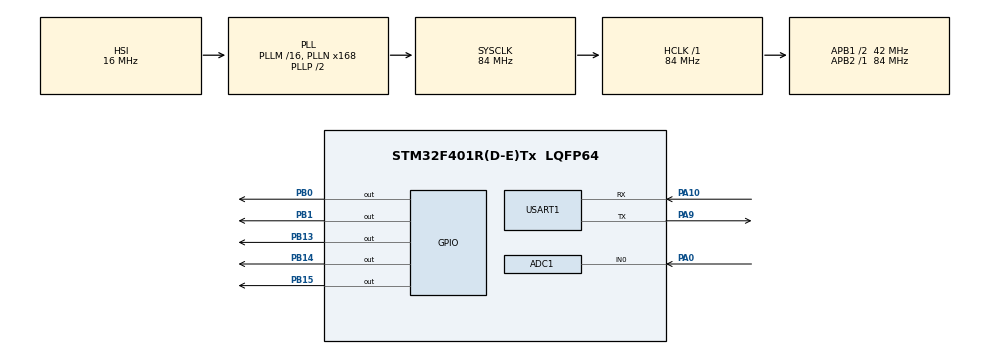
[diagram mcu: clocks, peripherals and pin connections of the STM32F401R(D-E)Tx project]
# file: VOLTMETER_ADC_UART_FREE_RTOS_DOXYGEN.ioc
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ADC1.Channel-0\#ChannelRegularConversion=ADC_CHANNEL_0
ADC1.NbrOfConversionFlag=1
ADC1.Rank-0\#ChannelRegularConversion=1
ADC1.SamplingTime-0\#ChannelRegularConversion=ADC_SAMPLETIME_3CYCLES
ADC1.master=1
Dma.Request0=USART1_RX
Dma.Request1=USART1_TX
Dma.USART1_RX.0.Direction=DMA_PERIPH_TO_MEMORY
Dma.USART1_RX.0.FIFOMode=DMA_FIFOMODE_DISABLE
Dma.USART1_RX.0.Instance=DMA2_Stream2
Dma.USART1_RX.0.MemDataAlignment=DMA_MDATAALIGN_BYTE
Dma.USART1_RX.0.MemInc=DMA_MINC_ENABLE
Dma.USART1_RX.0.Mode=DMA_NORMAL
Dma.USART1_RX.0.PeriphDataAlignment=DMA_PDATAALIGN_BYTE
Dma.USART1_RX.0.PeriphInc=DMA_PINC_DISABLE
Dma.USART1_RX.0.Priority=DMA_PRIORITY_LOW
Dma.USART1_TX.1.Direction=DMA_MEMORY_TO_PERIPH
Dma.USART1_TX.1.FIFOMode=DMA_FIFOMODE_DISABLE
Dma.USART1_TX.1.Instance=DMA2_Stream7
Dma.USART1_TX.1.MemDataAlignment=DMA_MDATAALIGN_HALFWORD
Dma.USART1_TX.1.MemInc=DMA_MINC_ENABLE
Dma.USART1_TX.1.Mode=DMA_NORMAL
Dma.USART1_TX.1.PeriphDataAlignment=DMA_PDATAALIGN_HALFWORD
Dma.USART1_TX.1.PeriphInc=DMA_PINC_DISABLE
Dma.USART1_TX.1.Priority=DMA_PRIORITY_LOW
FREERTOS.Queues01=ADC_QUEUE_UART_TX,1,uint16_t,0,Dynamic,NULL,NULL;UART_RX_QUEUE_ADC_TAK,16,uint16_t,0,Dynamic,NULL,NULL;UART_RX_QUEUE_UART_TX,1,uint8_t,0,Dynamic,NULL,NULL;UART_RX_QUEUE_ADC_CONFIG,1,uint8_t,0,Dynamic,NULL,NULL;INT_UART_QUEUE_UART_RX,1,uint8_t,0,Dynamic,NULL,NULL
FREERTOS.Tasks01=IDLE_DEBUG_TASK,-3,128,IDLE_DEBUG_TASK_INIT,Default,NULL,Dynamic,NULL,NULL;ADC_TAKE_TASK,0,128,ADC_TAKE_TASK_INIT,Default,NULL,Dynamic,NULL,NULL;UART_TX_TASK,0,2048,UART_TX_TASK_INIT,Default,NULL,Dynamic,NULL,NULL;UART_RX_TASK,0,128,UART_RX_TASK_INIT,Default,NULL,Dynamic,NULL,NULL;ADC_CONFIG_TASK,-1,128,ADC_CONFIG_TASK_INIT,Default,NULL,Dynamic,NULL,NULL;INT_TIMER_TASK,1,128,INT_TIMER_TASK_INIT,Default,NULL,Dynamic,NULL,NULL;INT_UART_TASK,1,128,INT_UART_TASK_INIT,Default,NULL,Dynamic,NULL,NULL
FREERTOS.Timers01=RTOS_TIMER_1,TIMER_CALLBACK,osTimerPeriodic,Default,NULL,Dynamic,NULL
FREERTOS.configUSE_IDLE_HOOK=1
FREERTOS.configUSE_TICK_HOOK=1
FREERTOS.configUSE_TIMERS=1
Mcu.Family=STM32F4
Mcu.Name=STM32F401R(D-E)Tx
Mcu.Package=LQFP64
NVIC.ADC_IRQn=true\:5\:0\:false\:false\:true\:true\:true\:true\:true
NVIC.DMA2_Stream2_IRQn=true\:5\:0\:false\:false\:true\:true\:false\:true\:true
NVIC.DMA2_Stream7_IRQn=true\:5\:0\:false\:false\:true\:true\:false\:true\:true
NVIC.PriorityGroup=NVIC_PRIORITYGROUP_4
NVIC.TIM1_TRG_COM_TIM11_IRQn=true\:5\:0\:false\:false\:true\:true\:true\:true\:true
NVIC.TIM1_UP_TIM10_IRQn=true\:5\:0\:false\:false\:true\:false\:false\:true\:true
NVIC.TimeBase=TIM1_UP_TIM10_IRQn
NVIC.TimeBaseIP=TIM10
NVIC.USART1_IRQn=true\:5\:0\:false\:false\:true\:true\:true\:true\:true
PA0-WKUP.Signal=ADCx_IN0
PA10.Mode=Asynchronous
PA10.Signal=USART1_RX
PA9.Mode=Asynchronous
PA9.Signal=USART1_TX
PB0.GPIO_ModeDefaultOutputPP=GPIO_MODE_OUTPUT_OD
PB0.GPIO_PuPd=GPIO_PULLUP
PB0.GPIO_Speed=GPIO_SPEED_FREQ_LOW
PB0.Signal=GPIO_Output
PB1.GPIO_ModeDefaultOutputPP=GPIO_MODE_OUTPUT_OD
PB1.GPIO_PuPd=GPIO_PULLUP
PB1.Signal=GPIO_Output
PB13.GPIO_ModeDefaultOutputPP=GPIO_MODE_OUTPUT_OD
PB13.GPIO_PuPd=GPIO_PULLUP
PB13.Signal=GPIO_Output
PB14.GPIO_ModeDefaultOutputPP=GPIO_MODE_OUTPUT_OD
PB14.GPIO_PuPd=GPIO_PULLUP
PB14.Signal=GPIO_Output
PB15.GPIO_ModeDefaultOutputPP=GPIO_MODE_OUTPUT_OD
PB15.GPIO_PuPd=GPIO_PULLUP
PB15.Signal=GPIO_Output
ProjectManager.HeapSize=0x200
ProjectManager.StackSize=0x400
ProjectManager.TargetToolchain=STM32CubeIDE
RCC.48MHZClocksFreq_Value=42000000
RCC.AHBFreq_Value=84000000
RCC.APB1CLKDivider=RCC_HCLK_DIV2
RCC.APB1Freq_Value=42000000
RCC.APB1TimFreq_Value=84000000
RCC.APB2Freq_Value=84000000
RCC.APB2TimFreq_Value=84000000
RCC.CortexFreq_Value=84000000
RCC.HCLKFreq_Value=84000000
RCC.HSE_VALUE=25000000
RCC.HSI_VALUE=16000000
RCC.LSE_VALUE=32768
RCC.PLLN=168
RCC.SYSCLKFreq_VALUE=84000000
RCC.SYSCLKSource=RCC_SYSCLKSOURCE_PLLCLK
RCC.VCOOutputFreq_Value=168000000
SH.ADCx_IN0.0=ADC1_IN0,IN0
TIM11.AutoReloadPreload=TIM_AUTORELOAD_PRELOAD_ENABLE
TIM11.Period=9999
TIM11.Prescaler=8399
USART1.VirtualMode=VM_ASYNC
VP_FREERTOS_VS_CMSIS_V1.Mode=CMSIS_V1
VP_SYS_VS_tim10.Mode=TIM10
VP_TIM11_VS_ClockSourceINT.Mode=Enable_Timer
VP_TIM1_VS_ClockSourceINT.Mode=Internal
board=custom

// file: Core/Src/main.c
/* USER CODE BEGIN Header */
/**
  ******************************************************************************
  * @file           : main.c
  * @brief          : Main program body
  ******************************************************************************
  * @attention
  *
  * Copyright (c) 2023 STMicroelectronics.
  * All rights reserved.
  *
  * This software is licensed under terms that can be found in the LICENSE file
  * in the root directory of this software component.
  * If no LICENSE file comes with this software, it is provided AS-IS.
  *
  ******************************************************************************
  */
/* USER CODE END Header */
#include "main.h"
#include "cmsis_os.h"
#include "adc.h"
#include "dma.h"
#include "tim.h"
#include "usart.h"
#include "gpio.h"

/* USER CODE BEGIN Includes */

//#include "freertos.h"

/* USER CODE END Includes */

void SystemClock_Config(void);
void MX_FREERTOS_Init(void);

/* USER CODE BEGIN 0 */

/*
//------------------------------------------------------------------------------------------------

#define RxBuf_SIZE   512
#define MainBuf_SIZE 2048

volatile uint8_t RxBuf[RxBuf_SIZE];
volatile uint8_t MainBuf[MainBuf_SIZE];

volatile uint16_t oldPos = 0;
volatile uint16_t newPos = 0;

volatile int isOK = 0;

void HAL_UARTEx_RxEventCallback(UART_HandleTypeDef *huart, uint16_t Size)
{
	HAL_GPIO_TogglePin(GPIOB, GPIO_PIN_14);

	/*
	// WZNAWIANIE ZADANIA DO OBSЕ?UGI TEGO PRZERW ANIA:
		   BaseType_t checkIfYieldRequired;
	    // xTaskResumeFromISR( TASK_HANDLER)
		   checkIfYieldRequired = xTaskResumeFromISR(INT_UART_TASKHandle);
		   portYIELD_FROM_ISR(checkIfYieldRequired);

	if (huart->Instance == USART1)
	{
		oldPos = newPos;  // Update the last position before copying new data

		// If the data in large and it is about to exceed the buffer size, we have to route it to the start of the buffer
		// This is to maintain the circular buffer
		// The old data in the main buffer will be overlapped

		if (oldPos+Size > MainBuf_SIZE)  // If the current position + new data size is greater than the main buffer
		{
			uint16_t datatocopy = MainBuf_SIZE-oldPos;  // find out how much space is left in the main buffer
			memcpy ((uint8_t *)MainBuf+oldPos, RxBuf, datatocopy);  // copy data in that remaining space

			oldPos = 0;  // point to the start of the buffer
			memcpy ((uint8_t *)MainBuf, (uint8_t *)RxBuf+datatocopy, (Size-datatocopy));  // copy the remaining data
			newPos = (Size-datatocopy);  // update the position
		}

		// if the current position + new data size is less than the main buffer
		// we will simply copy the data into the buffer and update the position

		else
		{
			memcpy ((uint8_t *)MainBuf+oldPos, RxBuf, Size);
			newPos = Size+oldPos;
		}

		// start the DMA again
		HAL_UARTEx_ReceiveToIdle_DMA(&huart1, (uint8_t *) RxBuf, RxBuf_SIZE);
		//__HAL_DMA_DISABLE_IT(&hdma_usart1_rx, DMA_IT_HT);

	}

	//
	// Let's say we want to check for the keyword "OK" within our incoming DATA
		for (int i=0; i<Size; i++)
		{
			if ((RxBuf[i] == 'O') && (RxBuf[i+1] == 'K'))
			{
				isOK = 1;
			}
		}

}
//------------------------------------------------------------------------------------------------
*/

/* USER CODE END 0 */

int main(void)
{
  /* USER CODE BEGIN 1 */

	//uint16_t* RAW; // 12bit ADC READING
   // char* MSG[10]; //10 CHARACTER BUFFER (80bits) TO TRANSMIT OVER UART

  /* USER CODE END 1 */

  /* MCU Configuration--------------------------------------------------------*/

  /* Reset of all peripherals, Initializes the Flash interface and the Systick. */
  HAL_Init();

  /* Configure the system clock */
  SystemClock_Config();

  /* Initialize all configured peripherals */
  MX_GPIO_Init();
  MX_DMA_Init();
  MX_ADC1_Init();
  MX_USART1_UART_Init();
  MX_TIM1_Init();
  MX_TIM11_Init();
  /* USER CODE BEGIN 2 */

//------------------------------------------------------------------------------------------------

  //HAL_UARTEx_ReceiveToIdle_DMA(&huart1, RxBuf, RxBuf_SIZE);
  //__HAL_DMA_DISABLE_IT(&hdma_usart1_rx, DMA_IT_HT);

//------------------------------------------------------------------------------------------------

  /* USER CODE END 2 */

  /* Call init function for freertos objects (in freertos.c) */
  MX_FREERTOS_Init();

  /* Start scheduler */
  osKernelStart();

  /* We should never get here as control is now taken by the scheduler */
  /* Infinite loop */
  while (1)
  {

  }
}

void SystemClock_Config(void)
{
  RCC_OscInitTypeDef RCC_OscInitStruct = {0};
  RCC_ClkInitTypeDef RCC_ClkInitStruct = {0};

  /** Configure the main internal regulator output voltage
  */
  __HAL_RCC_PWR_CLK_ENABLE();
  __HAL_PWR_VOLTAGESCALING_CONFIG(PWR_REGULATOR_VOLTAGE_SCALE2);

  /** Initializes the RCC Oscillators according to the specified parameters
  * in the RCC_OscInitTypeDef structure.
  */
  RCC_OscInitStruct.OscillatorType = RCC_OSCILLATORTYPE_HSI;
  RCC_OscInitStruct.HSIState = RCC_HSI_ON;
  RCC_OscInitStruct.HSICalibrationValue = RCC_HSICALIBRATION_DEFAULT;
  RCC_OscInitStruct.PLL.PLLState = RCC_PLL_ON;
  RCC_OscInitStruct.PLL.PLLSource = RCC_PLLSOURCE_HSI;
  RCC_OscInitStruct.PLL.PLLM = 16;
  RCC_OscInitStruct.PLL.PLLN = 168;
  RCC_OscInitStruct.PLL.PLLP = RCC_PLLP_DIV2;
  RCC_OscInitStruct.PLL.PLLQ = 4;
  if (HAL_RCC_OscConfig(&RCC_OscInitStruct) != HAL_OK)
  {
    Error_Handler();
  }

  /** Initializes the CPU, AHB and APB buses clocks
  */
  RCC_ClkInitStruct.ClockType = RCC_CLOCKTYPE_HCLK|RCC_CLOCKTYPE_SYSCLK
                              |RCC_CLOCKTYPE_PCLK1|RCC_CLOCKTYPE_PCLK2;
  RCC_ClkInitStruct.SYSCLKSource = RCC_SYSCLKSOURCE_PLLCLK;
  RCC_ClkInitStruct.AHBCLKDivider = RCC_SYSCLK_DIV1;
  RCC_ClkInitStruct.APB1CLKDivider = RCC_HCLK_DIV2;
  RCC_ClkInitStruct.APB2CLKDivider = RCC_HCLK_DIV1;

  if (HAL_RCC_ClockConfig(&RCC_ClkInitStruct, FLASH_LATENCY_2) != HAL_OK)
  {
    Error_Handler();
  }
}

void HAL_TIM_PeriodElapsedCallback(TIM_HandleTypeDef *htim)
{
  if (htim->Instance == TIM10) {
    HAL_IncTick();
  }
}

void Error_Handler(void)
{
  __disable_irq();
  while (1)
  {
  }
}

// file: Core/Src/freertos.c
/* USER CODE BEGIN Header */
/**
  ******************************************************************************
  * File Name          : freertos.c
  * Description        : Code for freertos applications
  ******************************************************************************
  * @attention
  *
  * Copyright (c) 2023 STMicroelectronics.
  * All rights reserved.
  *
  * This software is licensed under terms that can be found in the LICENSE file
  * in the root directory of this software component.
  * If no LICENSE file comes with this software, it is provided AS-IS.
  *
  ******************************************************************************
  */
/* USER CODE END Header */

#include "FreeRTOS.h"
#include "task.h"
#include "main.h"
#include "cmsis_os.h"

/* USER CODE BEGIN Includes */

#include "adc.h"
#include "usart.h"
#include "gpio.h"
#include "queue.h"

/// CONVERT TO STRING: (HAVE TO INCLUDE LIB <string.h> <stdio.h>
#include <string.h>
#include <stdio.h>

#include "dma.h"
#include "tim.h"

/* USER CODE END Includes */

/* USER CODE BEGIN PTD */

///-----------------------------------------------------------------------------
/// TYPEDEF AND VARIABLES:

/// SIZE OF UART RECEIVED DATA BUFFERS:
#define RxBuf_SIZE   512
#define MainBuf_SIZE 2048

/// IF WE CAN WE DONT USE VOLATILE AND GLOBAL VARIABLES IN RTOS
/// HERE IS NEEDED FOR UART FUNCTION AND INTERRUPT

/// UART RECEIVED DATA BUFFERS:
volatile uint8_t RxBuf[RxBuf_SIZE];
volatile uint8_t MainBuf[MainBuf_SIZE];

///-----------------------------------------------------------------------------
/* USER CODE END PTD */

/* USER CODE BEGIN Variables */

	///------------------------------------------------------------------------------------------------------------------------------
	/// CREATE HANDLERS:
	///------------------------------------------------------------------------------------------------------------------------------

/* USER CODE END Variables */
osThreadId IDLE_DEBUG_TASKHandle;
osThreadId ADC_TAKE_TASKHandle;
osThreadId UART_TX_TASKHandle;
osThreadId UART_RX_TASKHandle;
osThreadId ADC_CONFIG_TASKHandle;
osThreadId INT_TIMER_TASKHandle;
osThreadId INT_UART_TASKHandle;
osMessageQId ADC_QUEUE_UART_TXHandle;
osMessageQId UART_RX_QUEUE_ADC_TAKHandle;
osMessageQId UART_RX_QUEUE_UART_TXHandle;
osMessageQId UART_RX_QUEUE_ADC_CONFIGHandle;
osMessageQId INT_UART_QUEUE_UART_RXHandle;
osTimerId RTOS_TIMER_1Handle;

void IDLE_DEBUG_TASK_INIT(void const * argument);
void ADC_TAKE_TASK_INIT(void const * argument);
void UART_TX_TASK_INIT(void const * argument);
void UART_RX_TASK_INIT(void const * argument);
void ADC_CONFIG_TASK_INIT(void const * argument);
void INT_TIMER_TASK_INIT(void const * argument);
void INT_UART_TASK_INIT(void const * argument);
void TIMER_CALLBACK(void const * argument);

void MX_FREERTOS_Init(void); /* (MISRA C 2004 rule 8.1) */

/* GetIdleTaskMemory prototype (linked to static allocation support) */
void vApplicationGetIdleTaskMemory( StaticTask_t **ppxIdleTaskTCBBuffer, StackType_t **ppxIdleTaskStackBuffer, uint32_t *pulIdleTaskStackSize );

/* GetTimerTaskMemory prototype (linked to static allocation support) */
void vApplicationGetTimerTaskMemory( StaticTask_t **ppxTimerTaskTCBBuffer, StackType_t **ppxTimerTaskStackBuffer, uint32_t *pulTimerTaskStackSize );

/* Hook prototypes */
void vApplicationIdleHook(void);
void vApplicationTickHook(void);

/* USER CODE BEGIN 2 */
__weak void vApplicationIdleHook( void )
{
   /* vApplicationIdleHook() will only be called if configUSE_IDLE_HOOK is set
   to 1 in FreeRTOSConfig.h. It will be called on each iteration of the idle
   task. It is essential that code added to this hook function never attempts
   to block in any way (for example, call xQueueReceive() with a block time
   specified, or call vTaskDelay()). If the application makes use of the
   vTaskDelete() API function (as this demo application does) then it is also
   important that vApplicationIdleHook() is permitted to return to its calling
   function, because it is the responsibility of the idle task to clean up
   memory allocated by the kernel to any task that has since been deleted. */
}
/* USER CODE END 2 */

/* USER CODE BEGIN 3 */
__weak void vApplicationTickHook( void )
{
   /* This function will be called by each tick interrupt if
   configUSE_TICK_HOOK is set to 1 in FreeRTOSConfig.h. User code can be
   added here, but the tick hook is called from an interrupt context, so
   code must not attempt to block, and only the interrupt safe FreeRTOS API
   functions can be used (those that end in FromISR()). */
}
/* USER CODE END 3 */

/* USER CODE BEGIN GET_IDLE_TASK_MEMORY */
static StaticTask_t xIdleTaskTCBBuffer;
static StackType_t xIdleStack[configMINIMAL_STACK_SIZE];

void vApplicationGetIdleTaskMemory( StaticTask_t **ppxIdleTaskTCBBuffer, StackType_t **ppxIdleTaskStackBuffer, uint32_t *pulIdleTaskStackSize )
{
  *ppxIdleTaskTCBBuffer = &xIdleTaskTCBBuffer;
  *ppxIdleTaskStackBuffer = &xIdleStack[0];
  *pulIdleTaskStackSize = configMINIMAL_STACK_SIZE;
  /* place for user code */
}
/* USER CODE END GET_IDLE_TASK_MEMORY */

/* USER CODE BEGIN GET_TIMER_TASK_MEMORY */
static StaticTask_t xTimerTaskTCBBuffer;
static StackType_t xTimerStack[configTIMER_TASK_STACK_DEPTH];

void vApplicationGetTimerTaskMemory( StaticTask_t **ppxTimerTaskTCBBuffer, StackType_t **ppxTimerTaskStackBuffer, uint32_t *pulTimerTaskStackSize )
{
  *ppxTimerTaskTCBBuffer = &xTimerTaskTCBBuffer;
  *ppxTimerTaskStackBuffer = &xTimerStack[0];
  *pulTimerTaskStackSize = configTIMER_TASK_STACK_DEPTH;
  /* place for user code */
}
/* USER CODE END GET_TIMER_TASK_MEMORY */

void MX_FREERTOS_Init(void) {

  /* Create the timer(s) */
  /* definition and creation of RTOS_TIMER_1 */
  osTimerDef(RTOS_TIMER_1, TIMER_CALLBACK);
  RTOS_TIMER_1Handle = osTimerCreate(osTimer(RTOS_TIMER_1), osTimerPeriodic, NULL);

	///------------------------------------------------------------------------------------------------------------------------------
	/// CREATE QUEUES:
	///------------------------------------------------------------------------------------------------------------------------------

  /* Create the queue(s) */
  /* definition and creation of ADC_QUEUE_UART_TX */
  osMessageQDef(ADC_QUEUE_UART_TX, 1, uint16_t);
  ADC_QUEUE_UART_TXHandle = osMessageCreate(osMessageQ(ADC_QUEUE_UART_TX), NULL);

  /* definition and creation of UART_RX_QUEUE_ADC_TAKE */
  osMessageQDef(UART_RX_QUEUE_ADC_TAK, 16, uint16_t);
  UART_RX_QUEUE_ADC_TAKHandle = osMessageCreate(osMessageQ(UART_RX_QUEUE_ADC_TAK), NULL);

  /* definition and creation of UART_RX_QUEUE_UART_TX */
  osMessageQDef(UART_RX_QUEUE_UART_TX, 1, uint8_t);
  UART_RX_QUEUE_UART_TXHandle = osMessageCreate(osMessageQ(UART_RX_QUEUE_UART_TX), NULL);

  /* definition and creation of UART_RX_QUEUE_ADC_CONFIG */
  osMessageQDef(UART_RX_QUEUE_ADC_CONFIG, 1, uint8_t);
  UART_RX_QUEUE_ADC_CONFIGHandle = osMessageCreate(osMessageQ(UART_RX_QUEUE_ADC_CONFIG), NULL);

  /* definition and creation of INT_UART_QUEUE_UART_RX */
  osMessageQDef(INT_UART_QUEUE_UART_RX, 1, uint8_t);
  INT_UART_QUEUE_UART_RXHandle = osMessageCreate(osMessageQ(INT_UART_QUEUE_UART_RX), NULL);

	///------------------------------------------------------------------------------------------------------------------------------
	/// CREATE THREADS:
	///------------------------------------------------------------------------------------------------------------------------------

  /* Create the thread(s) */
  /* definition and creation of IDLE_DEBUG_TASK */
  osThreadDef(IDLE_DEBUG_TASK, IDLE_DEBUG_TASK_INIT, osPriorityIdle, 0, 128);
  IDLE_DEBUG_TASKHandle = osThreadCreate(osThread(IDLE_DEBUG_TASK), NULL);

  /* definition and creation of ADC_TAKE_TASK */
  osThreadDef(ADC_TAKE_TASK, ADC_TAKE_TASK_INIT, osPriorityNormal, 0, 128);
  ADC_TAKE_TASKHandle = osThreadCreate(osThread(ADC_TAKE_TASK), NULL);

  /* definition and creation of UART_TX_TASK */
  osThreadDef(UART_TX_TASK, UART_TX_TASK_INIT, osPriorityNormal, 0, 2048);
  UART_TX_TASKHandle = osThreadCreate(osThread(UART_TX_TASK), NULL);

  /* definition and creation of UART_RX_TASK */
  osThreadDef(UART_RX_TASK, UART_RX_TASK_INIT, osPriorityNormal, 0, 128);
  UART_RX_TASKHandle = osThreadCreate(osThread(UART_RX_TASK), NULL);

  /* definition and creation of ADC_CONFIG_TASK */
  osThreadDef(ADC_CONFIG_TASK, ADC_CONFIG_TASK_INIT, osPriorityBelowNormal, 0, 128);
  ADC_CONFIG_TASKHandle = osThreadCreate(osThread(ADC_CONFIG_TASK), NULL);

  /* definition and creation of INT_TIMER_TASK */
  osThreadDef(INT_TIMER_TASK, INT_TIMER_TASK_INIT, osPriorityAboveNormal, 0, 128);
  INT_TIMER_TASKHandle = osThreadCreate(osThread(INT_TIMER_TASK), NULL);

  /* definition and creation of INT_UART_TASK */
  osThreadDef(INT_UART_TASK, INT_UART_TASK_INIT, osPriorityAboveNormal, 0, 128);
  INT_UART_TASKHandle = osThreadCreate(osThread(INT_UART_TASK), NULL);

}

void IDLE_DEBUG_TASK_INIT(void const * argument)
{
  /* USER CODE BEGIN IDLE_DEBUG_TASK_INIT */
  /* Infinite loop */

	///------------------------------------------------------------------------------------------------------------------------------
	/// TASK TO DEBUG - TOGGLE DIODE:
	///------------------------------------------------------------------------------------------------------------------------------

  int i = 0;

  for(;;)
  {
	  osDelay(1);
	  i = i + 1;

	  if(i == 1000)
	  {
		 i = 0;

		 /// TOGGLE FIRST RED DIODE (DEBUG DIODE):
		 HAL_GPIO_TogglePin(GPIOB, GPIO_PIN_0);
	  }
  }
  /* USER CODE END IDLE_DEBUG_TASK_INIT */
}

void ADC_TAKE_TASK_INIT(void const * argument)
{
  /* USER CODE BEGIN ADC_TAKE_TASK_INIT */
  /* Infinite loop */

	///------------------------------------------------------------------------------------------------------------------------------
	/// TASK TO TAKE ADC MEASUREMENT AND SEND DATA TO NEXT TASKS:
	///------------------------------------------------------------------------------------------------------------------------------

    ///@param MSG[10] 10 CHARACTER BUFFER TO TRANSMIT OVER QUEUE TO UART TASK (80bits):
    ///@param RAW_ADC_VALUE VARIABLE FOR  12bit ADC READING VALUE:

	/// ADC_TAKE_TASK VARIABLES:
	uint16_t RAW_ADC_VALUE; // VARIABLE FOR  12bit ADC READING VALUE:
	char MSG[10]; //10 CHARACTER BUFFER TO TRANSMIT OVER QUEUE TO UART TASK (80bits):

	  /* Infinite loop */
	  for(;;)
	  {
		  osDelay(1);

		  ///START ADC CONVERSION:
		  HAL_ADC_Start(&hadc1); /// PASSING ADC HANDLING ADDRES

		  /// WAIT TO ADC CONVERSION TO COMPLETE:
		  HAL_ADC_PollForConversion(&hadc1, HAL_MAX_DELAY);

		  ///WHEN CONVERSION IS DONE GET 12bit VALUE: (FROM 0 TO 4095)
		  RAW_ADC_VALUE = HAL_ADC_GetValue(&hadc1);

		  /// SEND DATA TO QUEUE:
		  xQueueSend(ADC_QUEUE_UART_TXHandle, &RAW_ADC_VALUE, portMAX_DELAY);

	  }

	  ///------------------------------------------------------------------------------------------------------------------------------
	  /* USER CODE END ADC_TASK_INIT */

  /* USER CODE END ADC_TAKE_TASK_INIT */
}

/// TASK FOR TERMINAL INTERFACE IN PC - UART TRANSFER DATA TASK:
void UART_TX_TASK_INIT(void const * argument)
{

  /* USER CODE BEGIN UART_TX_TASK_INIT */
	/* USER CODE BEGIN UART_TASK_INIT */

	///------------------------------------------------------------------------------------------------------------------------------
	/// TASK FOR TERMINAL INTERFACE IN PC - UART TRANSFER DATA TASK:
	///------------------------------------------------------------------------------------------------------------------------------

	/// THIS TASK HAVE BIGER STACK SIZE BECAUSE OF SPRINTF FUNCTION AND FLOAT COMPUTING
	/// WITH SMALER STACK SIZE THIS DOES NOT WORK

	///@param  MODE VARIABLE TO SELECT OPERATING MODE (SINGLE,CONTINOUS,INPUT)
	///@param RAW_ADC_VALUE 12bit VALU OF ADC MEASUREMENT
	///@param VOLTAGE VARIABLE FOR OUTCOME VOLTAGE VALUE
	///@param  CONTINOUS
	///@param  MSG[10] 10 CHARACTER BUFFER (80bits) TO TRANSMIT OVER UART

		uint8_t MODE = 0;
		uint16_t RAW_ADC_VALUE; /// 12bit ADC READING
		float VOLTAGE;
		uint8_t CONTINOUS = 0;
		char MSG[10]; //10 CHARACTER BUFFER (80bits) TO TRANSMIT OVER UART

		xQueueReceive(ADC_QUEUE_UART_TXHandle, &RAW_ADC_VALUE, portMAX_DELAY);
		xQueueReceive( UART_RX_QUEUE_UART_TXHandle, &MODE, portMAX_DELAY);

	  /* Infinite loop */
	  for(;;)
	  {
	    osDelay(1);

	    /// START PAGE:
	    if(MODE == 0)
	    {
	    	CONTINOUS = 0;

	        sprintf(MSG,"\033c"); /// CLEAR TERMINAL WINDOW COMAND
	        HAL_UART_Transmit(&huart1, (uint8_t*)MSG, strlen(MSG), HAL_MAX_DELAY);

			sprintf(MSG,"SELECT MODE:  %\r\n");
			HAL_UART_Transmit(&huart1, (uint8_t*)MSG, strlen(MSG), HAL_MAX_DELAY);

			sprintf(MSG,"CLICK S TO SINGLE MEASUREMENT  %\r\n");
			HAL_UART_Transmit(&huart1, (uint8_t*)MSG, strlen(MSG), HAL_MAX_DELAY);

			sprintf(MSG,"CLICK C TO CONTINOUS MEASUREMENT %\r\n");
			HAL_UART_Transmit(&huart1, (uint8_t*)MSG, strlen(MSG), HAL_MAX_DELAY);

			sprintf(MSG,"CLICK I TO SELECT ADC INPUT %\r\n");
			HAL_UART_Transmit(&huart1, (uint8_t*)MSG, strlen(MSG), HAL_MAX_DELAY);

			xQueueReceive( UART_RX_QUEUE_UART_TXHandle, &MODE, portMAX_DELAY);
	    }

	    ///SINGLE ADC MEASUREMENT PAGE:
	    else if(MODE==1)
	    {
	    	CONTINOUS = 0;

	    	sprintf(MSG,"\033c"); /// CLEAR TERMINAL WINDOW COMAND
	        HAL_UART_Transmit(&huart1, (uint8_t*)MSG, strlen(MSG), HAL_MAX_DELAY);

	    	sprintf(MSG," CLICK S TO START %\r\n");
	    	HAL_UART_Transmit(&huart1, (uint8_t*)MSG, strlen(MSG), HAL_MAX_DELAY);

	    	sprintf(MSG,"CLICK Q TO QUIT %\r\n");
	    	HAL_UART_Transmit(&huart1, (uint8_t*)MSG, strlen(MSG), HAL_MAX_DELAY);

	    	xQueueReceive( UART_RX_QUEUE_UART_TXHandle, &MODE, portMAX_DELAY);
	    }

	    /// START SINGLE ADC MEASUREMENT AND DISPLAY OUTCOMES:
	    else if(MODE==2)
	    {
	    	CONTINOUS = 0;

		   ///WAIT TO NEXT CLICK:
		   xQueueReceive( UART_RX_QUEUE_UART_TXHandle, &MODE, portMAX_DELAY);

		   xQueueReceive(ADC_QUEUE_UART_TXHandle, &RAW_ADC_VALUE, portMAX_DELAY);

		   RAW_ADC_VALUE = (float)RAW_ADC_VALUE;
		   VOLTAGE = RAW_ADC_VALUE/820;

		   sprintf(MSG,"\033c");/// CLEAR TERMINAL WINDOW COMAND
		   HAL_UART_Transmit(&huart1, (uint8_t*)MSG, strlen(MSG), HAL_MAX_DELAY);

		   sprintf(MSG,"ADC VALUE: %hu\r\n", RAW_ADC_VALUE);
		   HAL_UART_Transmit(&huart1, (uint8_t*)MSG, strlen(MSG), HAL_MAX_DELAY);

		   sprintf(MSG,"VOLTAGE:  ");
		   HAL_UART_Transmit(&huart1, (uint8_t*)MSG, strlen(MSG), HAL_MAX_DELAY);

		   sprintf(MSG,"%.2f\n:  ", VOLTAGE);
		   HAL_UART_Transmit(&huart1, (uint8_t*)MSG, strlen(MSG), HAL_MAX_DELAY);

		   sprintf(MSG,"V  %\r ");
		   HAL_UART_Transmit(&huart1, (uint8_t*)MSG, strlen(MSG), HAL_MAX_DELAY);

		   sprintf(MSG,"CLICK S TO NEXT MEASUREMENT %\r\n");
		   HAL_UART_Transmit(&huart1, (uint8_t*)MSG, strlen(MSG), HAL_MAX_DELAY);

		   sprintf(MSG,"CLICK Q TO QUIT %\r\n");
		   HAL_UART_Transmit(&huart1, (uint8_t*)MSG, strlen(MSG), HAL_MAX_DELAY);

	    }

	    /// CONTINOUS ADC MEASUREMENT SETTINGS:
	    else if(MODE == 4)
	    {
	    	 CONTINOUS = 1;
	    	 xQueueReceive( UART_RX_QUEUE_UART_TXHandle, &MODE, portMAX_DELAY);
	    }

	    /// ADC SELECT PIN MODE:
	    else if(MODE == 5)
	    {
	    	CONTINOUS = 0;

	    	sprintf(MSG,"\033c"); /// CLEAR TERMINAL WINDOW COMAND
	    	HAL_UART_Transmit(&huart1, (uint8_t*)MSG, strlen(MSG), HAL_MAX_DELAY);

			sprintf(MSG,"SELECT PIN: %\r\n");
			HAL_UART_Transmit(&huart1, (uint8_t*)MSG, strlen(MSG), HAL_MAX_DELAY);

			sprintf(MSG,"CLICK 1 TO SELECT PIN 1 %\r\n");
			HAL_UART_Transmit(&huart1, (uint8_t*)MSG, strlen(MSG), HAL_MAX_DELAY);

			sprintf(MSG,"CLICK 2 TO SELECT PIN 2 %\r\n");
			HAL_UART_Transmit(&huart1, (uint8_t*)MSG, strlen(MSG), HAL_MAX_DELAY);

			sprintf(MSG,"CLICK 3 TO SELECT PIN 3 %\r\n");
			HAL_UART_Transmit(&huart1, (uint8_t*)MSG, strlen(MSG), HAL_MAX_DELAY);

			sprintf(MSG,"CLICK 4 TO SELECT PIN 4 %\r\n");
			HAL_UART_Transmit(&huart1, (uint8_t*)MSG, strlen(MSG), HAL_MAX_DELAY);

			sprintf(MSG,"CLICK Q TO QUIT %\r\n");
			HAL_UART_Transmit(&huart1, (uint8_t*)MSG, strlen(MSG), HAL_MAX_DELAY);

			xQueueReceive( UART_RX_QUEUE_UART_TXHandle, &MODE, portMAX_DELAY);
	    }

	    /// CONTINUES MEASUREMENT MODE:
	    if (CONTINOUS == 1)
	    {
	       /// OUTCOME - VOLTAGE VALUE - DIPLAYED EVERY 300ms

	       osDelay(300); /// DELAY INSTEAD OF TIMER
	       xQueueReceive(ADC_QUEUE_UART_TXHandle, &RAW_ADC_VALUE, portMAX_DELAY);

		   RAW_ADC_VALUE = (float)RAW_ADC_VALUE;
		   VOLTAGE = RAW_ADC_VALUE/820;

		   sprintf(MSG,"\033c"); /// CLEAR TERMINAL WINDOW COMAND
		   HAL_UART_Transmit(&huart1, (uint8_t*)MSG, strlen(MSG), HAL_MAX_DELAY);

		   sprintf(MSG,"ADC VALUE: %hu\r\n", RAW_ADC_VALUE);
		   HAL_UART_Transmit(&huart1, (uint8_t*)MSG, strlen(MSG), HAL_MAX_DELAY);

		   sprintf(MSG,"VOLTAGE: %f ", VOLTAGE);
		   HAL_UART_Transmit(&huart1, (uint8_t*)MSG, strlen(MSG), HAL_MAX_DELAY);

		   sprintf(MSG,"V  %\r\n ");
		   HAL_UART_Transmit(&huart1, (uint8_t*)MSG, strlen(MSG), HAL_MAX_DELAY);

		   sprintf(MSG,"CLICK Q TO QUIT %\r\n");
		   HAL_UART_Transmit(&huart1, (uint8_t*)MSG, strlen(MSG), HAL_MAX_DELAY);

		  /// IF THERE IS NO DATA IN 10 TICKS GO FURTHER:
	   	   xQueueReceive( UART_RX_QUEUE_UART_TXHandle, &MODE, 10);

	     }

	  }

	  ///------------------------------------------------------------------------------------------------------------------------------
	  /* USER CODE END UART_TASK_INIT */
  /* USER CODE END UART_TX_TASK_INIT */
}

void UART_RX_TASK_INIT(void const * argument)
{
  /* USER CODE BEGIN UART_RX_TASK_INIT */
	  /* USER CODE BEGIN UART_READ_TASK_INIT */

	///------------------------------------------------------------------------------------------------------------------------------
	/// TASK TO PROCESS RECEIVED DATA AND SELECT OPERATING MODE:
	///------------------------------------------------------------------------------------------------------------------------------

	///@param MODE VARIABLE TO SELECT OPERATING MODE (SINGLE,CONTINOUS,INPUT)
	///@param RX_DATA RECEIVED 8bit DATA FROM UART
	///@param ADC_PIN VARIABLE TO SELECT ADC INPUT PIN

	// VARIABLES FOR THIS TASK:
	uint8_t RX_DATA; //RECEIVED 8bit DATA FROM UART
	uint8_t MODE = 0;
	uint8_t ADC_PIN;

	  /* Infinite loop */
	  for(;;)
	  {
		  osDelay(10);

		  /// RECEIVING DATA FROM QUEUE - DATA FROM UART INTERRUPT TASK:
		  xQueueReceive(INT_UART_QUEUE_UART_RXHandle, &RX_DATA, portMAX_DELAY);

		  if(MODE == 0)
		  {
			  /// 'S'- SINGLE MEASUREMENT 'S' - START
			  if(RX_DATA == 's' || RX_DATA == 'S')
			  {
				MODE = 1; ///SINGLE MEASUREMENT PAGE MODE
				xQueueSend(UART_RX_QUEUE_UART_TXHandle, &MODE, portMAX_DELAY);
				RX_DATA = 0;
			  }

			  /// 'C' - CONTINOUS MEASUREMENT
			  else if(RX_DATA == 'c' || RX_DATA == 'C')
			  {
				MODE = 4; ///CONTINOUS MEASUREMENT MODE
				xQueueSend(UART_RX_QUEUE_UART_TXHandle, &MODE, portMAX_DELAY);
			  }

			  /// 'I' - INPUT
			  else if(RX_DATA == 'i' || RX_DATA == 'I')
			  {
				MODE = 5; /// SELECT ADC PIN MODE
				xQueueSend(UART_RX_QUEUE_UART_TXHandle, &MODE, portMAX_DELAY);
			  }
		  }

		  /// IF MODE IS: SINGLE MEASUREMENT PAGE - THEN MAKE SINGLE MEASUREMENT:
		  if(MODE == 1)
		  {
			  if(RX_DATA == 's' || RX_DATA == 'S')
			  {
				MODE = 2; ///SINGLE MEASUREMENT 'START' MODE
				xQueueSend(UART_RX_QUEUE_UART_TXHandle, &MODE, portMAX_DELAY);
			  }
		  }

		  /// TAKE NEXT SINGLE MEASUREMENT:
		  if(MODE == 2)
		  {
			  if(RX_DATA == 's' || RX_DATA == 'S')
			  {
				xQueueSend(UART_RX_QUEUE_UART_TXHandle, &MODE, portMAX_DELAY);
			  }
		  }

		  /// SELECT ADC PIN NUMBER FROM 1 TO 4:
		  if(MODE == 5)
		  {
			  if(RX_DATA > 47 && RX_DATA < 53) /// ASCI: 0,1,2,3
			  {
				 ADC_PIN = (RX_DATA - 48);
				 xQueueSend(UART_RX_QUEUE_ADC_CONFIGHandle, &ADC_PIN, portMAX_DELAY);
			  }
		  }

		  /// RECEIVING 'Q' - BACK TO START PAGE (Q = QUIT)
		  if(RX_DATA == 'q' || RX_DATA == 'Q')
		  {
			  MODE = 0; /// START PAGE MODE
			  /// SEND DATA TO QUEUE - SELECTED WORK MODE:
			  xQueueSend(UART_RX_QUEUE_UART_TXHandle, &MODE, portMAX_DELAY);
		  }

		  RX_DATA = 0;

		  /// SEND DATA TO QUEUE - SELECTED WORK MODE:
		  xQueueSend(UART_RX_QUEUE_UART_TXHandle, &MODE, portMAX_DELAY);

	  }

  /* USER CODE END UART_RX_TASK_INIT */
}

///
/// ADC_CONFIG_TASK_INIT
void ADC_CONFIG_TASK_INIT(void const * argument)
{
  /* USER CODE BEGIN ADC_CONFIG_TASK_INIT */
  /* Infinite loop */

	///------------------------------------------------------------------------------------------------------------------------------
	/// TASK TO SELECT ADC PIN (DIODES INSTEAD OF RELAYS):
	///------------------------------------------------------------------------------------------------------------------------------

	///@param ADC_PIN VARIABLE TO SELECT ADC INPUT PIN

  uint8_t ADC_PIN = 0;

  for(;;)
  {
    osDelay(1);

    /// RECEIVING DATA FORM QUEUE:
    xQueueReceive( UART_RX_QUEUE_ADC_CONFIGHandle, &ADC_PIN, portMAX_DELAY);

    if(ADC_PIN == 1)
    {
    	/// GREEN DIODE ON - THE REST OFF:
    	HAL_GPIO_WritePin(GPIOB, GPIO_PIN_1,GPIO_PIN_RESET); //GREEN DIODE
    	HAL_GPIO_WritePin(GPIOB, GPIO_PIN_15,GPIO_PIN_SET); //RED DIODE
    	HAL_GPIO_WritePin(GPIOB, GPIO_PIN_14,GPIO_PIN_SET); //BLUE DIODE
    	HAL_GPIO_WritePin(GPIOB, GPIO_PIN_13,GPIO_PIN_SET); //YELLOW DIODE
    }
    if(ADC_PIN == 2)
   {
    	/// RED DIODE ON - THE REST OFF:
     	HAL_GPIO_WritePin(GPIOB, GPIO_PIN_1,GPIO_PIN_SET); //GREEN DIODE
		HAL_GPIO_WritePin(GPIOB, GPIO_PIN_15,GPIO_PIN_RESET); //RED DIODE
		HAL_GPIO_WritePin(GPIOB, GPIO_PIN_14,GPIO_PIN_SET); //BLUE DIODE
		HAL_GPIO_WritePin(GPIOB, GPIO_PIN_13,GPIO_PIN_SET); //YELLOW DIODE

   }
    if(ADC_PIN == 3)
   {
    	/// BLUE DIODE ON - THE REST OFF:
     	HAL_GPIO_WritePin(GPIOB, GPIO_PIN_1,GPIO_PIN_SET); //GREEN DIODE
		HAL_GPIO_WritePin(GPIOB, GPIO_PIN_15,GPIO_PIN_SET); //RED DIODE
		HAL_GPIO_WritePin(GPIOB, GPIO_PIN_14,GPIO_PIN_RESET); //BLUE DIODE
		HAL_GPIO_WritePin(GPIOB, GPIO_PIN_13,GPIO_PIN_SET); //YELLOW DIODE

   }
    if(ADC_PIN == 4)
   {
    	/// YELLLOW DIODE ON - THE REST OFF:
     	HAL_GPIO_WritePin(GPIOB, GPIO_PIN_1,GPIO_PIN_SET); //GREEN DIODE
		HAL_GPIO_WritePin(GPIOB, GPIO_PIN_15,GPIO_PIN_SET); //RED DIODE
		HAL_GPIO_WritePin(GPIOB, GPIO_PIN_14,GPIO_PIN_SET); //BLUE DIODE
		HAL_GPIO_WritePin(GPIOB, GPIO_PIN_13,GPIO_PIN_RESET); //YELLOW DIODE
   }

  }
  /* USER CODE END ADC_CONFIG_TASK_INIT */
}

void INT_TIMER_TASK_INIT(void const * argument)
{
  /* USER CODE BEGIN INT_TIMER_TASK_INIT */
  /* Infinite loop */

	///------------------------------------------------------------------------------------------------------------------------------
	/// TASK TO HANDLE THE INTERRUPT FROM TIMER - 1 SECOND:
	///------------------------------------------------------------------------------------------------------------------------------

  for(;;)
  {

	  /// TASK IS WAITING AND WILL RUN WHEN ISR OCCOUR

	  ///TASK SUSPENDS ITSELF:
	  vTaskSuspend(NULL);

	  ///HAL_GPIO_TogglePin(GPIOB, GPIO_PIN_1);

	  /// START TIMER AGAIN:
	  HAL_TIM_Base_Start_IT(&htim11);

  }
  /* USER CODE END INT_TIMER_TASK_INIT */
}

void INT_UART_TASK_INIT(void const * argument)
{
	///------------------------------------------------------------------------------------------------------------------------------
	/// TASK TO HANDLE THE INTERRUPT FROM INCOMING DATA FROM UART:
	///------------------------------------------------------------------------------------------------------------------------------

	///@param RX_DATA RECEIVED 8bit DATA FROM UART

	uint8_t RX_DATA; // 8bit DATA RECEIVED FROM UART:

	/// START THE DMA:
	HAL_UARTEx_ReceiveToIdle_DMA(&huart1, (uint8_t *) RxBuf, RxBuf_SIZE);

  for(;;)
  {
	  /// TASK IS WAITING AND WILL RUN WHEN ISR OCCOUR

	  ///TASK SUSPENDS ITSELF:
	  vTaskSuspend(NULL);

	  ///TOGGLE BLUE DIODE FOR DEBUG:
	  HAL_GPIO_TogglePin(GPIOB, GPIO_PIN_14);

	  RX_DATA = RxBuf[0];

	  /// SEND RECEIVED DATA TO QUEUE:
	  xQueueSend(INT_UART_QUEUE_UART_RXHandle, &RX_DATA, portMAX_DELAY);

	  /// START THE DMA AGAIN:
	  HAL_UARTEx_ReceiveToIdle_DMA(&huart1, (uint8_t *) RxBuf, RxBuf_SIZE);
  }

  /* USER CODE END INT_UART_TASK_INIT */
}

/* TIMER_CALLBACK function */
void TIMER_CALLBACK(void const * argument)
{
}

/* USER CODE BEGIN Application */

///-------------------------------------------------------------------------------------------------
///   INTERRUPTS CALLBACKS:
///-------------------------------------------------------------------------------------------------

/// CALLBACK FROM TIMER INTERRUPT - 1 SECOND:
void HAL_TIM_PeriodicElapsedCallback (TIM_HandleTypeDef *htim)
{
	if(htim->Instance == TIM11)
	{
     /// WZNAWIANIE ZADANIA DO OBSLUGI TEGO PRZERWANIA:
		BaseType_t CHECK_VAR;
	 /// xTaskResumeFromISR( TASK_HANDLER)
		CHECK_VAR = xTaskResumeFromISR(INT_TIMER_TASKHandle);
		portYIELD_FROM_ISR(CHECK_VAR);
	}
}

/// CALLBAC FROM UART RECEIVING DATA INTERRUPT:
void HAL_UARTEx_RxEventCallback(UART_HandleTypeDef *huart, uint16_t Size)
{
 ///-------------------------------------------------------
 /// WZNAWIANIE ZADANIA DO OBSLUGI TEGO PRZERWANIA:
    BaseType_t CHECK_VAR;
 /// xTaskResumeFromISR( TASK_HANDLER)
	CHECK_VAR = xTaskResumeFromISR(INT_UART_TASKHandle);
	portYIELD_FROM_ISR(CHECK_VAR);
 ///-------------------------------------------------------
}

///-------------------------------------------------------------------------------------------------
///   INTERRUPTS CALLBACKS END
///-------------------------------------------------------------------------------------------------

/* USER CODE END Application */
